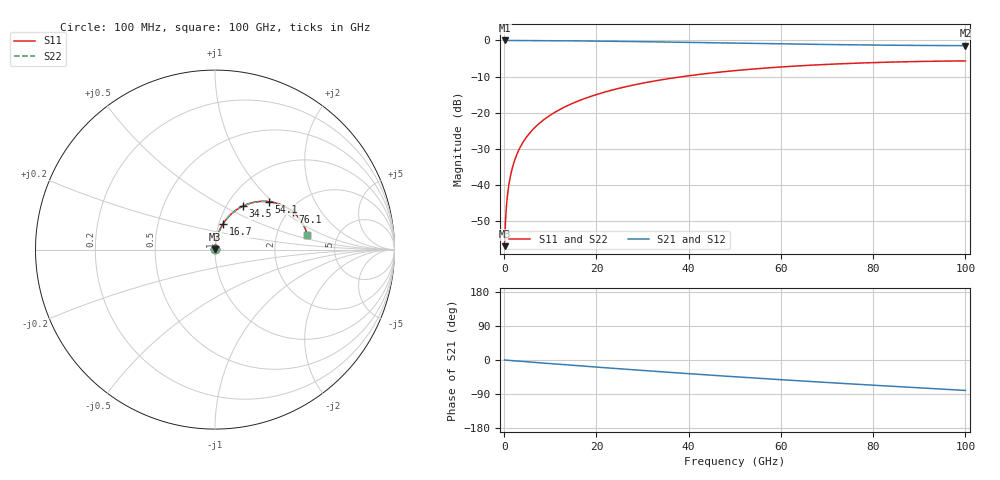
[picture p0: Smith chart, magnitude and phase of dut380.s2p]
! Touchstone file exported from HFSS 2026.1.0
!  File:  C:/ffzhzh/LocalFiles/Ansys_Project_Files/temp_train_RDL_380_1783503708_55944.aedt
!  Generated:  05:43:02 PM Jul  8, 2026
!  Design:  RDL
!  Project:  temp_train_RDL_380_1783503708_55944
! Variables:
!  h_bsmrdl = 2um
!  h_ox = 20um
!  h_rdl = 5um
!  h_sub = 80um
!  h_tmrdl = 4.48um
!  h_tsv = 80um
!  h_via = 3um
!  l_bsmrdl = 300um
!  l_sub = 641um
!  l_tmrdl = 241um
!  m_sub = 200um
!  pitch = 52.55um
!  r_tsv = 6um
!  s_tmrdl = 10um
!  w_bsmrdl = 18um
!  w_sub = 500um
!  w_tmrdl = 25.3um
!  x_tsv_center1 = 253.65um
!  x_tsv_center2 = 571.65um
!  x_tsv_center3 = 837.95um
!  x_tsv_center4 = 1155.95um
!  x_tsv_center5 = 1422.25um
!  x_tsv_center6 = 1740.25um
# GHz S MA R 50.000000
! Terminal data exported
! Port[1] = TM_RDL1_1_T1
! Port[2] = TM_RDL1_1_T2
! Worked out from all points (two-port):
!   1000 points, 100 MHz to 100 GHz, reference 50 ohm
!   highest |S21| = -0.01 dB at 100 MHz (marker M1); lowest = -1.4 dB at 100 GHz (marker M2)
!   |S21| within 3 dB of the highest: start of sweep to end of sweep
!   lowest |S11| = -57.0 dB at 100 MHz (marker M3), VSWR 1.00, Z = 50.1 + j0.105 ohm
!   |S11| at or under -10 dB: start of sweep to 38.82 GHz
!   |S22| runs from -57.0 to -5.7 dB; largest |S21 - S12| = 1.4e-14
!   S11 on the Smith chart (normalised r, x): 100 MHz: 1.00, +0.00; 16.7 GHz: 1.05, +0.31; 34.5 GHz: 1.19, +0.63; 54.1 GHz: 1.49, +0.95; 76.1 GHz: 2.12, +1.15; 100 GHz: 2.99, +0.69
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0.1  0.001408 48.1  0.9991 -0.1  0.9991 -0.1  0.001408 48.1
! Gamma 0 0 0 0
! Port Impedance 50 0 50 0
0.4  0.004109 74.1  0.9989 -0.4  0.9989 -0.4  0.004109 74.1
0.8  0.007843 80.5  0.9988 -0.8  0.9988 -0.8  0.007843 80.5
1.1  0.01068 82.3  0.9987 -1.1  0.9987 -1.1  0.01068 82.3
1.4  0.01352 83.2  0.9986 -1.4  0.9986 -1.4  0.01352 83.2
1.9  0.01826 83.8  0.9984 -1.8  0.9984 -1.8  0.01826 83.8
2.4  0.02298 83.9  0.9982 -2.3  0.9982 -2.3  0.02298 83.9
3.9  0.037 83.2  0.9974 -3.8  0.9974 -3.8  0.037 83.2
6  0.05626 81.7  0.9959 -5.7  0.9959 -5.7  0.05626 81.7
8.8  0.08146 79.4  0.9935 -8.4  0.9935 -8.4  0.08146 79.4
12.3  0.1123 76.4  0.9898 -11.6  0.9898 -11.6  0.1123 76.4
16.7  0.1502 72.6  0.9842 -15.7  0.9842 -15.7  0.1502 72.6
16.8  0.151 72.5  0.9841 -15.8  0.9841 -15.8  0.151 72.5
24.2  0.2114 66.1  0.9721 -22.5  0.9721 -22.5  0.2114 66.1
33.4  0.2798 58.3  0.954 -30.5  0.954 -30.5  0.2798 58.3
34.5  0.2875 57.4  0.9517 -31.5  0.9517 -31.5  0.2875 57.3
50.1  0.382 44.8  0.9174 -44.3  0.9174 -44.3  0.382 44.7
54.1  0.4021 41.7  0.9087 -47.4  0.9087 -47.4  0.4021 41.6
66.7  0.4544 32.3  0.8837 -57.0  0.8837 -57.0  0.4544 32.2
76.1  0.4832 25.6  0.8683 -63.8  0.8683 -63.8  0.4832 25.5
83.4  0.4999 20.5  0.8588 -68.9  0.8588 -68.9  0.4999 20.4
100  0.5204 9.3  0.8463 -80.3  0.8463 -80.3  0.5203 9.1
